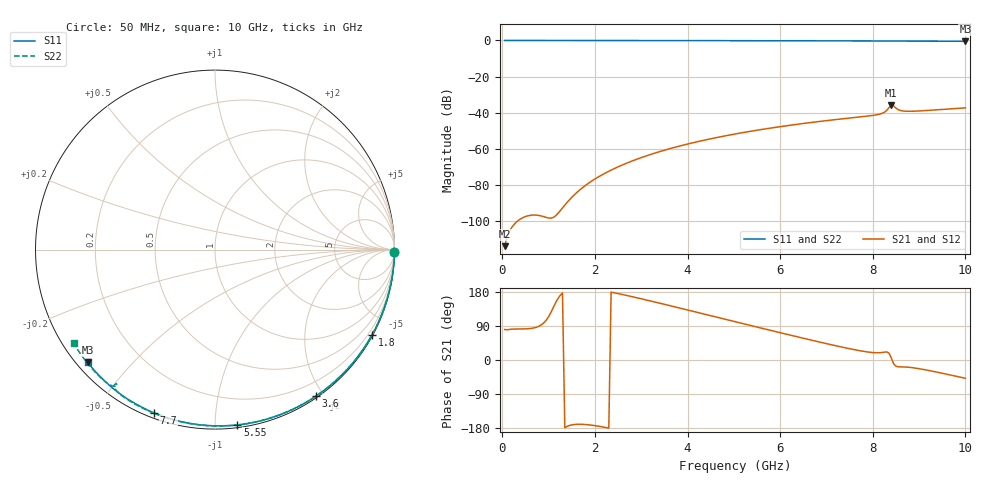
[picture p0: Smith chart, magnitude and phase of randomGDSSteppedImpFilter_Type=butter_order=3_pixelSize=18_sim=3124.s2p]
! freq	dB(S11)	phase(S11)	dB(S12)	phase(S12)
!  dB(S21)	phase(S21)	dB(S22)	phase(S22)
!S-par simulation data
#  GHz  S  DB  R 50
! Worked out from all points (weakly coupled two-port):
!   200 points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, 50 MHz to 10 GHz, reference 50 ohm
!   highest |S21| = -35.80 dB at 8.4 GHz (marker M1); lowest = -114.0 dB at 50 MHz (marker M2)
!   lowest |S11| = -0.5 dB at 10 GHz (marker M3), VSWR 37.07, Z = 1.54 - j18.9 ohm
!   |S11| at or under -10 dB: nowhere
!   |S22| runs from -0.7 to 0.0 dB; largest |S21 - S12| = 0
!   S11 on the Smith chart (normalised r, x): 50 MHz: open; 1.8 GHz: 0.03, -3.95; 3.6 GHz: 0.02, -1.90; 5.55 GHz: 0.02, -1.13; 7.7 GHz: 0.02, -0.69; 10 GHz: 0.03, -0.38
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0.05  -0.00 -0.8  -113.99 80.4  -113.99 80.4  -0.00 -0.9
0.9  -0.02 -14.3  -97.69 98.4  -97.69 98.4  -0.02 -15.3
1.75  -0.04 -27.6  -81.22 -169.9  -81.22 -169.9  -0.04 -29.4
1.8  -0.04 -28.4  -80.24 -170.3  -80.24 -170.3  -0.04 -30.2
2.15  -0.04 -33.8  -74.52 -176.2  -74.52 -176.2  -0.05 -35.9
2.5  -0.05 -39.1  -70.03 175.3  -70.03 175.3  -0.05 -41.6
2.9  -0.06 -45.1  -65.85 164.4  -65.85 164.4  -0.06 -48.0
3.4  -0.07 -52.5  -61.57 149.9  -61.57 149.9  -0.07 -55.8
3.6  -0.07 -55.5  -60.08 144.0  -60.08 144.0  -0.08 -58.9
4.3  -0.09 -65.5  -55.60 123.0  -55.60 123.0  -0.10 -69.5
5.05  -0.12 -76.0  -51.72 100.4  -51.72 100.4  -0.12 -80.5
5.55  -0.14 -82.8  -49.53 85.4  -49.53 85.4  -0.14 -87.7
6.7  -0.19 -97.9  -45.35 51.6  -45.35 51.6  -0.20 -103.6
7.7  -0.25 -110.5  -42.43 24.9  -42.43 24.9  -0.27 -117.1
8.2  -0.29 -116.6  -40.42 19.8  -40.42 19.8  -0.34 -124.2
8.3  -0.30 -117.8  -38.79 21.2  -38.79 21.2  -0.42 -125.9
8.35  -0.31 -118.4  -37.20 18.1  -37.20 18.1  -0.53 -126.6
8.4  -0.31 -119.0  -35.80 5.4  -35.80 5.4  -0.67 -126.4
8.45  -0.30 -119.7  -36.27 -9.9  -36.27 -9.9  -0.61 -125.8
8.55  -0.31 -120.9  -38.34 -17.9  -38.34 -17.9  -0.44 -127.0
8.75  -0.34 -123.4  -39.25 -18.8  -39.25 -18.8  -0.39 -130.0
10  -0.47 -138.5  -37.35 -48.3  -37.35 -48.3  -0.50 -146.5
